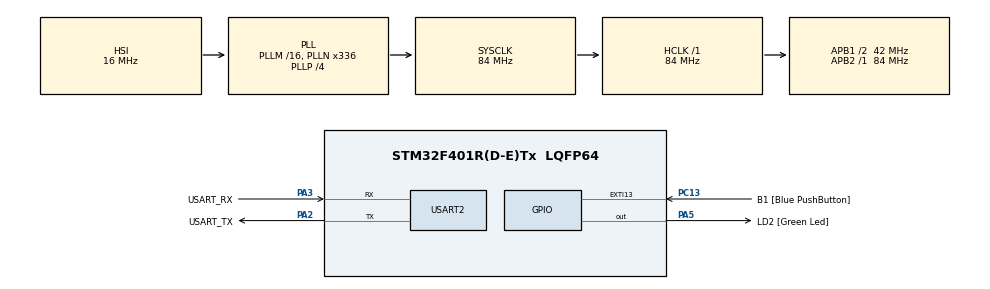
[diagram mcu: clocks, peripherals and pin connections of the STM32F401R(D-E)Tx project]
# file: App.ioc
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Mcu.Family=STM32F4
Mcu.Name=STM32F401R(D-E)Tx
Mcu.Package=LQFP64
NVIC.PriorityGroup=NVIC_PRIORITYGROUP_0
PA13.GPIO_Label=TMS
PA13.Mode=Serial_Wire
PA13.Signal=SYS_JTMS-SWDIO
PA14.GPIO_Label=TCK
PA14.Mode=Serial_Wire
PA14.Signal=SYS_JTCK-SWCLK
PA2.GPIO_Label=USART_TX
PA2.GPIO_Mode=GPIO_MODE_AF_PP
PA2.GPIO_PuPd=GPIO_NOPULL
PA2.GPIO_Speed=GPIO_SPEED_FREQ_LOW
PA2.Mode=Asynchronous
PA2.Signal=USART2_TX
PA3.GPIO_Label=USART_RX
PA3.GPIO_Mode=GPIO_MODE_AF_PP
PA3.GPIO_PuPd=GPIO_NOPULL
PA3.GPIO_Speed=GPIO_SPEED_FREQ_LOW
PA3.Mode=Asynchronous
PA3.Signal=USART2_RX
PA5.GPIO_Label=LD2 [Green Led]
PA5.GPIO_Mode=GPIO_MODE_OUTPUT_PP
PA5.GPIO_PuPd=GPIO_NOPULL
PA5.GPIO_Speed=GPIO_SPEED_FREQ_LOW
PA5.Signal=GPIO_Output
PB3.GPIO_Label=SWO
PB3.Signal=SYS_JTDO-SWO
PC13-ANTI_TAMP.GPIO_Label=B1 [Blue PushButton]
PC13-ANTI_TAMP.GPIO_ModeDefaultEXTI=GPIO_MODE_IT_FALLING
PC13-ANTI_TAMP.GPIO_PuPd=GPIO_NOPULL
PC13-ANTI_TAMP.Signal=GPXTI13
PC14-OSC32_IN.Mode=LSE-External-Oscillator
PC14-OSC32_IN.Signal=RCC_OSC32_IN
PC15-OSC32_OUT.Mode=LSE-External-Oscillator
PC15-OSC32_OUT.Signal=RCC_OSC32_OUT
PH0\ -\ OSC_IN.Mode=HSE-External-Clock-Source
PH0\ -\ OSC_IN.Signal=RCC_OSC_IN
PH1\ -\ OSC_OUT.Mode=HSE-External-Clock-Source
PH1\ -\ OSC_OUT.Signal=RCC_OSC_OUT
ProjectManager.HeapSize=0x200
ProjectManager.StackSize=0x400
ProjectManager.TargetToolchain=STM32CubeIDE
RCC.48MHZClocksFreq_Value=48000000
RCC.AHBFreq_Value=84000000
RCC.APB1CLKDivider=RCC_HCLK_DIV2
RCC.APB1Freq_Value=42000000
RCC.APB1TimFreq_Value=84000000
RCC.APB2Freq_Value=84000000
RCC.APB2TimFreq_Value=84000000
RCC.CortexFreq_Value=84000000
RCC.HCLKFreq_Value=84000000
RCC.HSE_VALUE=8000000
RCC.HSI_VALUE=16000000
RCC.PLLN=336
RCC.PLLP=RCC_PLLP_DIV4
RCC.PLLQ=7
RCC.SYSCLKFreq_VALUE=84000000
RCC.SYSCLKSource=RCC_SYSCLKSOURCE_PLLCLK
RCC.VCOOutputFreq_Value=336000000
USART2.VirtualMode=VM_ASYNC
board=NUCLEO-F401RE

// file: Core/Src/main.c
/* USER CODE BEGIN Header */
/**
  ******************************************************************************
  * @file           : main.c
  * @brief          : Main program body
  ******************************************************************************
  * @attention
  *
  * Copyright (c) 2025 STMicroelectronics.
  * All rights reserved.
  *
  * This software is licensed under terms that can be found in the LICENSE file
  * in the root directory of this software component.
  * If no LICENSE file comes with this software, it is provided AS-IS.
  *
  ******************************************************************************
  */
/* USER CODE END Header */
#include "main.h"
#include "stdio.h"

/* USER CODE BEGIN PM */
typedef void (*ptrF)(uint32_t dlyticks);
typedef void (*pFunction)(void);
/* USER CODE END PM */

UART_HandleTypeDef huart2;

/* USER CODE BEGIN PV */
#ifdef first
unsigned char __attribute__((__section__(".myBufSectionRAM"))) buf_ram[128];
const unsigned char __attribute__((__section__(".myBufSectionFLASH"))) buf_flash[10] = {
	0,1,2,3,4,5,6,7,8,9
};
#endif
#define LOCATE_FUNC __attribute__((__section__(".mysection")))
#define FLASH_APP_ADDR 0x8008000
/* USER CODE END PV */

void SystemClock_Config(void);
static void MX_GPIO_Init(void);
static void MX_USART2_UART_Init(void);
/* USER CODE BEGIN PFP */

#ifdef first
static ptrF Functions[] = {
		blink
};
#endif
/* USER CODE END PFP */

/* USER CODE BEGIN 0 */

void __attribute__ ((__section__(".RamFunc"))) TurnOnLED(GPIO_PinState Pinstate){
	if(Pinstate != GPIO_PIN_RESET){
		GPIOA->BSRR = (1 << 5);
	}
	else{
		GPIOA->BSRR = (1 <<(5+16));
	}
}
struct BootLoaderAPI{
	void (*Blink)(uint32_t dlyticks);
	void (*TurnON)(void);
	void (*TurnOFF)(void);
};
int _write(int file, char *ptr, int len){
	int dataidx;
	for(dataidx = 0; dataidx < len; dataidx++){
		HAL_UART_Transmit(&huart2, (uint8_t*) ptr++, 1, 100);
	}
	return len;
}
/* USER CODE END 0 */

int main(void)
{

  /* USER CODE BEGIN 1 */
	struct BootLoaderAPI *api = (struct BootLoaderAPI *) 0x8018000;
  /* USER CODE END 1 */

  /* MCU Configuration--------------------------------------------------------*/

  /* Reset of all peripherals, Initializes the Flash interface and the Systick. */
  HAL_Init();

  /* Configure the system clock */
  SystemClock_Config();

  /* Initialize all configured peripherals */
  MX_GPIO_Init();
  MX_USART2_UART_Init();

  /* Infinite loop */
  while (1)
  {
#ifdef first
	  (Functions[0])(100);
#endif
	  /* USER CODE BEGIN 3 */
	  printf("App is running");
	  api -> Blink(200);
	  HAL_Delay(1000);
  }
  /* USER CODE END 3 */
}

void SystemClock_Config(void)
{
  RCC_OscInitTypeDef RCC_OscInitStruct = {0};
  RCC_ClkInitTypeDef RCC_ClkInitStruct = {0};

  /** Configure the main internal regulator output voltage
  */
  __HAL_RCC_PWR_CLK_ENABLE();
  __HAL_PWR_VOLTAGESCALING_CONFIG(PWR_REGULATOR_VOLTAGE_SCALE2);

  /** Initializes the RCC Oscillators according to the specified parameters
  * in the RCC_OscInitTypeDef structure.
  */
  RCC_OscInitStruct.OscillatorType = RCC_OSCILLATORTYPE_HSI;
  RCC_OscInitStruct.HSIState = RCC_HSI_ON;
  RCC_OscInitStruct.HSICalibrationValue = RCC_HSICALIBRATION_DEFAULT;
  RCC_OscInitStruct.PLL.PLLState = RCC_PLL_ON;
  RCC_OscInitStruct.PLL.PLLSource = RCC_PLLSOURCE_HSI;
  RCC_OscInitStruct.PLL.PLLM = 16;
  RCC_OscInitStruct.PLL.PLLN = 336;
  RCC_OscInitStruct.PLL.PLLP = RCC_PLLP_DIV4;
  RCC_OscInitStruct.PLL.PLLQ = 7;
  if (HAL_RCC_OscConfig(&RCC_OscInitStruct) != HAL_OK)
  {
    Error_Handler();
  }

  /** Initializes the CPU, AHB and APB buses clocks
  */
  RCC_ClkInitStruct.ClockType = RCC_CLOCKTYPE_HCLK|RCC_CLOCKTYPE_SYSCLK
                              |RCC_CLOCKTYPE_PCLK1|RCC_CLOCKTYPE_PCLK2;
  RCC_ClkInitStruct.SYSCLKSource = RCC_SYSCLKSOURCE_PLLCLK;
  RCC_ClkInitStruct.AHBCLKDivider = RCC_SYSCLK_DIV1;
  RCC_ClkInitStruct.APB1CLKDivider = RCC_HCLK_DIV2;
  RCC_ClkInitStruct.APB2CLKDivider = RCC_HCLK_DIV1;

  if (HAL_RCC_ClockConfig(&RCC_ClkInitStruct, FLASH_LATENCY_2) != HAL_OK)
  {
    Error_Handler();
  }
}

static void MX_USART2_UART_Init(void)
{

  huart2.Instance = USART2;
  huart2.Init.BaudRate = 115200;
  huart2.Init.WordLength = UART_WORDLENGTH_8B;
  huart2.Init.StopBits = UART_STOPBITS_1;
  huart2.Init.Parity = UART_PARITY_NONE;
  huart2.Init.Mode = UART_MODE_TX_RX;
  huart2.Init.HwFlowCtl = UART_HWCONTROL_NONE;
  huart2.Init.OverSampling = UART_OVERSAMPLING_16;
  if (HAL_UART_Init(&huart2) != HAL_OK)
  {
    Error_Handler();
  }

}

static void MX_GPIO_Init(void)
{
  GPIO_InitTypeDef GPIO_InitStruct = {0};

  /* GPIO Ports Clock Enable */
  __HAL_RCC_GPIOC_CLK_ENABLE();
  __HAL_RCC_GPIOH_CLK_ENABLE();
  __HAL_RCC_GPIOA_CLK_ENABLE();
  __HAL_RCC_GPIOB_CLK_ENABLE();

  /*Configure GPIO pin Output Level */
  HAL_GPIO_WritePin(LD2_GPIO_Port, LD2_Pin, GPIO_PIN_RESET);

  /*Configure GPIO pin : B1_Pin */
  GPIO_InitStruct.Pin = B1_Pin;
  GPIO_InitStruct.Mode = GPIO_MODE_IT_FALLING;
  GPIO_InitStruct.Pull = GPIO_NOPULL;
  HAL_GPIO_Init(B1_GPIO_Port, &GPIO_InitStruct);

  /*Configure GPIO pin : LD2_Pin */
  GPIO_InitStruct.Pin = LD2_Pin;
  GPIO_InitStruct.Mode = GPIO_MODE_OUTPUT_PP;
  GPIO_InitStruct.Pull = GPIO_NOPULL;
  GPIO_InitStruct.Speed = GPIO_SPEED_FREQ_LOW;
  HAL_GPIO_Init(LD2_GPIO_Port, &GPIO_InitStruct);

}

void Error_Handler(void)
{
  __disable_irq();
  while (1)
  {
  }
}
